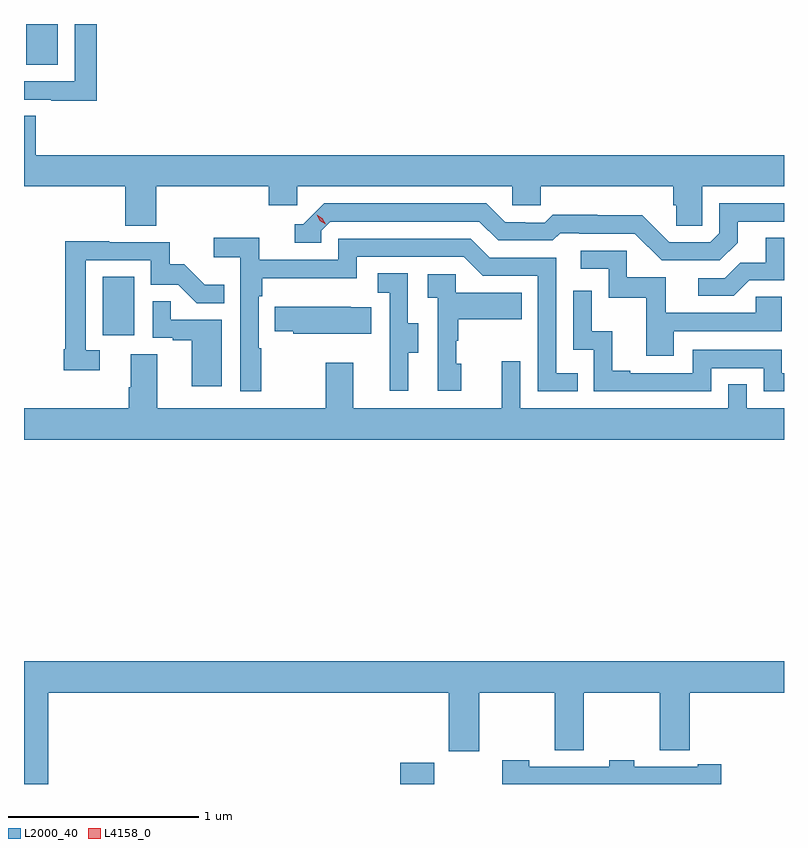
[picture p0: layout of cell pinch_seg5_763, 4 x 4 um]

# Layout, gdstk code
import gdstk
lib = gdstk.Library(unit=1e-6, precision=1e-09)
def R(c, l, rs):  # rectangles x0, y0, x1, y1
    for r in rs: c.add(gdstk.rectangle(r[:2], r[2:], *l))
def P(c, l, *ps):  # polygons
    for p in ps: c.add(gdstk.Polygon(p, *l))
L2000_40 = (2000, 40)
L4158_0 = (4158, 0)

pinch_seg5_763 = lib.new_cell('pinch_seg5_763')
R(pinch_seg5_763, L2000_40, [(851.756,908.227,851.934,908.338), (850.19,910.59,850.354,910.897), (849.788,912.012,849.952,912.227)])
P(pinch_seg5_763, L2000_40, [(850.157,912.227),(850.041,912.227),(850.041,911.925),(849.775,911.925),(849.775,911.829),(849.919,911.829),(849.919,911.824),(850.157,911.824)],
  [(850.472,911.372),(851.063,911.372),(851.063,911.274),(851.214,911.274),(851.214,911.372),(852.345,911.372),(852.345,911.274),(852.495,911.274),(852.495,911.372),(853.193,911.372),(853.193,911.274),(853.207,911.274),(853.207,911.164),(853.344,911.164),(853.344,911.372),(853.775,911.372),(853.775,911.536),(849.836,911.536),(849.836,911.744),(849.775,911.744),(849.775,911.372),(850.307,911.372),(850.307,911.164),(850.472,911.164)],
  [(853.531,911.077),(853.531,911.187),(853.775,911.187),(853.775,911.283),(853.434,911.283),(853.434,911.127),(853.386,911.079),(853.17,911.079),(853.028,911.221),(852.792,911.221),(852.792,911.224),(852.559,911.224),(852.517,911.181),(852.414,911.181),(852.414,911.184),(852.307,911.184),(852.208,911.283),(851.355,911.283),(851.244,911.172),(851.201,911.172),(851.201,911.076),(851.34,911.076),(851.34,911.139),(851.388,911.187),(852.171,911.187),(852.27,911.088),(852.559,911.088),(852.598,911.127),(852.697,911.127),(852.697,911.124),(852.99,911.124),(853.131,910.983),(853.437,910.983)],
  [(853.591,910.878),(853.775,910.878),(853.775,911.102),(853.679,911.102),(853.679,910.97),(853.544,910.97),(853.464,910.89),(853.323,910.89),(853.323,910.797),(853.51,910.797)],
  [(851.023,910.52),(851.01,910.52),(851.01,910.793),(851.03,910.793),(851.03,910.889),(851.526,910.889),(851.526,911.001),(852.09,911.001),(852.189,910.902),(852.48,910.902),(852.48,910.293),(852.689,910.293),(852.689,910.389),(852.576,910.389),(852.576,910.998),(852.226,910.998),(852.127,911.097),(851.43,911.097),(851.43,910.986),(851.012,910.986),(851.012,911.102),(850.773,911.102),(850.773,911),(850.914,911),(850.914,910.293),(851.023,910.293)],
  [(850.174,910.509),(850.101,910.509),(850.101,910.983),(850.443,910.983),(850.443,910.854),(850.587,910.854),(850.685,910.756),(850.829,910.756),(850.829,910.855),(850.725,910.855),(850.618,910.962),(850.542,910.962),(850.542,911.079),(850.223,911.079),(850.223,911.084),(849.993,911.084),(849.993,910.516),(849.985,910.516),(849.985,910.404),(850.174,910.404)],
  [(853.195,910.611),(853.764,910.611),(853.764,910.791),(853.627,910.791),(853.627,910.707),(853.153,910.707),(853.153,910.893),(852.948,910.893),(852.948,911.034),(852.705,911.034),(852.705,910.938),(852.852,910.938),(852.852,910.785),(853.051,910.785),(853.051,910.482),(853.195,910.482)],
  [(851.797,910.498),(851.851,910.498),(851.851,910.653),(851.796,910.653),(851.796,910.916),(851.637,910.916),(851.637,910.813),(851.7,910.813),(851.7,910.509),(851.699,910.509),(851.699,910.296),(851.797,910.296)],
  [(852.076,910.44),(852.051,910.44),(852.051,910.559),(852.061,910.559),(852.061,910.673),(852.395,910.673),(852.395,910.813),(852.048,910.813),(852.048,910.911),(851.901,910.911),(851.901,910.787),(851.952,910.787),(851.952,910.296),(852.076,910.296)],
  [(853.392,910.416),(853.668,910.416),(853.668,910.293),(853.775,910.293),(853.775,910.389),(853.764,910.389),(853.764,910.512),(853.296,910.512),(853.296,910.389),(852.967,910.389),(852.967,910.402),(852.872,910.402),(852.872,910.61),(852.762,910.61),(852.762,910.822),(852.666,910.822),(852.666,910.512),(852.774,910.512),(852.774,910.293),(853.392,910.293)],
  [(850.816,910.671),(850.547,910.671),(850.547,910.769),(850.452,910.769),(850.452,910.575),(850.559,910.575),(850.559,910.563),(850.658,910.563),(850.658,910.32),(850.816,910.32)],
  [(851.603,910.735),(851.495,910.735),(851.495,910.738),(851.095,910.738),(851.095,910.609),(851.193,910.609),(851.193,910.598),(851.603,910.598)],
  [(853.775,910.204),(853.578,910.204),(853.578,910.331),(853.482,910.331),(853.482,910.204),(852.387,910.204),(852.387,910.453),(852.29,910.453),(852.29,910.204),(851.509,910.204),(851.509,910.444),(851.362,910.444),(851.362,910.204),(850.477,910.204),(850.477,910.49),(850.337,910.49),(850.337,910.316),(850.325,910.316),(850.325,910.204),(849.775,910.204),(849.775,910.04),(853.775,910.04)],
  [(849.902,908.708),(852.011,908.708),(852.011,908.4),(852.171,908.4),(852.171,908.708),(852.568,908.708),(852.568,908.404),(852.722,908.404),(852.722,908.708),(853.12,908.708),(853.12,908.404),(853.28,908.404),(853.28,908.708),(853.775,908.708),(853.775,908.872),(849.775,908.872),(849.775,908.227),(849.902,908.227)],
  [(853.445,908.332),(853.322,908.332),(853.322,908.319),(852.987,908.319),(852.987,908.352),(852.855,908.352),(852.855,908.319),(852.435,908.319),(852.435,908.352),(852.291,908.352),(852.291,908.227),(853.445,908.227)])
P(pinch_seg5_763, L4158_0, [(851.362,911.172),(851.331,911.191),(851.316,911.224),(851.316,911.224),(851.316,911.224),(851.346,911.204),(851.362,911.172),(851.362,911.172)])

lib.write_gds('pinch_seg5_763.gds')
